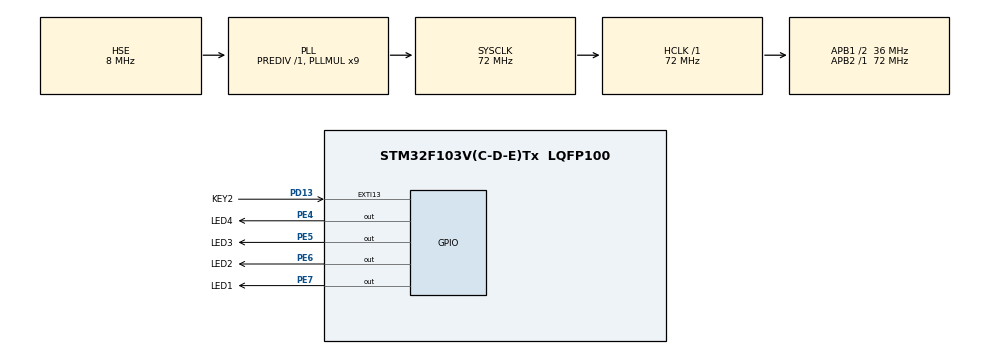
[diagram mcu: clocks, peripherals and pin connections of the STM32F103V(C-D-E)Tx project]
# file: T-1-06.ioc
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Mcu.Family=STM32F1
Mcu.Name=STM32F103V(C-D-E)Tx
Mcu.Package=LQFP100
NVIC.EXTI15_10_IRQn=true\:0\:0\:false\:false\:true\:true\:true
NVIC.PriorityGroup=NVIC_PRIORITYGROUP_4
OSC_IN.Mode=HSE-External-Oscillator
OSC_IN.Signal=RCC_OSC_IN
OSC_OUT.Mode=HSE-External-Oscillator
OSC_OUT.Signal=RCC_OSC_OUT
PA13.Mode=Serial_Wire
PA13.Signal=SYS_JTMS-SWDIO
PA14.Mode=Serial_Wire
PA14.Signal=SYS_JTCK-SWCLK
PC14-OSC32_IN.Mode=LSE-External-Oscillator
PC14-OSC32_IN.Signal=RCC_OSC32_IN
PC15-OSC32_OUT.Mode=LSE-External-Oscillator
PC15-OSC32_OUT.Signal=RCC_OSC32_OUT
PD13.GPIO_Label=KEY2
PD13.GPIO_ModeDefaultEXTI=GPIO_MODE_IT_FALLING
PD13.GPIO_PuPd=GPIO_PULLUP
PD13.Signal=GPXTI13
PE4.GPIO_Label=LED4
PE4.GPIO_ModeDefaultOutputPP=GPIO_MODE_OUTPUT_PP
PE4.GPIO_PuPd=GPIO_NOPULL
PE4.GPIO_Speed=GPIO_SPEED_FREQ_HIGH
PE4.PinState=GPIO_PIN_SET
PE4.Signal=GPIO_Output
PE5.GPIO_Label=LED3
PE5.GPIO_ModeDefaultOutputPP=GPIO_MODE_OUTPUT_PP
PE5.GPIO_PuPd=GPIO_NOPULL
PE5.GPIO_Speed=GPIO_SPEED_FREQ_HIGH
PE5.PinState=GPIO_PIN_SET
PE5.Signal=GPIO_Output
PE6.GPIO_Label=LED2
PE6.GPIO_ModeDefaultOutputPP=GPIO_MODE_OUTPUT_PP
PE6.GPIO_PuPd=GPIO_NOPULL
PE6.GPIO_Speed=GPIO_SPEED_FREQ_HIGH
PE6.PinState=GPIO_PIN_SET
PE6.Signal=GPIO_Output
PE7.GPIO_Label=LED1
PE7.GPIO_ModeDefaultOutputPP=GPIO_MODE_OUTPUT_PP
PE7.GPIO_PuPd=GPIO_NOPULL
PE7.GPIO_Speed=GPIO_SPEED_FREQ_HIGH
PE7.PinState=GPIO_PIN_SET
PE7.Signal=GPIO_Output
ProjectManager.HeapSize=0x200
ProjectManager.StackSize=0x400
ProjectManager.TargetToolchain=MDK-ARM V5
RCC.AHBFreq_Value=72000000
RCC.APB1CLKDivider=RCC_HCLK_DIV2
RCC.APB1Freq_Value=36000000
RCC.APB1TimFreq_Value=72000000
RCC.APB2Freq_Value=72000000
RCC.APB2TimFreq_Value=72000000
RCC.HCLKFreq_Value=72000000
RCC.PLLMUL=RCC_PLL_MUL9
RCC.PLLSourceVirtual=RCC_PLLSOURCE_HSE
RCC.SYSCLKFreq_VALUE=72000000
RCC.SYSCLKSource=RCC_SYSCLKSOURCE_PLLCLK
RCC.USBFreq_Value=72000000
board=custom

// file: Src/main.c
/* USER CODE BEGIN Header */
/**
  ******************************************************************************
  * @file           : main.c
  * @brief          : Main program body
  ******************************************************************************
  * @attention
  *
  * <h2><center>&copy; Copyright (c) 2022 STMicroelectronics.
  * All rights reserved.</center></h2>
  *
  * This software component is licensed by ST under BSD 3-Clause license,
  * the "License"; You may not use this file except in compliance with the
  * License. You may obtain a copy of the License at:
  *                        opensource.org/licenses/BSD-3-Clause
  *
  ******************************************************************************
  */
/* USER CODE END Header */

#include "main.h"
#include "gpio.h"

/* USER CODE BEGIN PV */
	uint8_t Key_Flag=0;
/* USER CODE END PV */

void SystemClock_Config(void);

int main(void)
{

  /* MCU Configuration--------------------------------------------------------*/

  /* Reset of all peripherals, Initializes the Flash interface and the Systick. */
  HAL_Init();

  /* Configure the system clock */
  SystemClock_Config();

  /* Initialize all configured peripherals */
  MX_GPIO_Init();

  /* Infinite loop */
  /* USER CODE BEGIN WHILE */
  while (1)
  {
		if(Key_Flag == 1 )
		{
			/****请在以下指定位置添加功能代码1***/
			//功能：LED1~LED4流水点亮
			/****添加代码1开始***/
			HAL_GPIO_TogglePin (LED1_GPIO_Port ,LED1_Pin );
			HAL_Delay (500);
			HAL_GPIO_TogglePin (LED1_GPIO_Port ,LED1_Pin );
			HAL_GPIO_TogglePin (LED2_GPIO_Port ,LED2_Pin );
			HAL_Delay (500);
			HAL_GPIO_TogglePin (LED2_GPIO_Port ,LED2_Pin );
			HAL_GPIO_TogglePin (LED3_GPIO_Port ,LED3_Pin );
			HAL_Delay (500);
			HAL_GPIO_TogglePin (LED3_GPIO_Port ,LED3_Pin );
			HAL_GPIO_TogglePin (LED4_GPIO_Port ,LED4_Pin );
			HAL_Delay (500);
			HAL_GPIO_TogglePin (LED4_GPIO_Port ,LED4_Pin );

			/****添加代码1结束***/
		}
		else
		{
			/****请在以下指定位置添加功能代码2***/
			//功能：LED1~LED4全灭
			/****添加代码2开始***/
			HAL_GPIO_WritePin  (GPIOE ,0xf0,GPIO_PIN_SET );
			/****添加代码2结束***/
		}
    /* USER CODE END WHILE */

  }
}

void SystemClock_Config(void)
{
  RCC_OscInitTypeDef RCC_OscInitStruct = {0};
  RCC_ClkInitTypeDef RCC_ClkInitStruct = {0};

  /** Initializes the CPU, AHB and APB busses clocks
  */
  RCC_OscInitStruct.OscillatorType = RCC_OSCILLATORTYPE_HSE;
  RCC_OscInitStruct.HSEState = RCC_HSE_ON;
  RCC_OscInitStruct.HSEPredivValue = RCC_HSE_PREDIV_DIV1;
  RCC_OscInitStruct.HSIState = RCC_HSI_ON;
  RCC_OscInitStruct.PLL.PLLState = RCC_PLL_ON;
  RCC_OscInitStruct.PLL.PLLSource = RCC_PLLSOURCE_HSE;
  RCC_OscInitStruct.PLL.PLLMUL = RCC_PLL_MUL9;
  if (HAL_RCC_OscConfig(&RCC_OscInitStruct) != HAL_OK)
  {
    Error_Handler();
  }
  /** Initializes the CPU, AHB and APB busses clocks
  */
  RCC_ClkInitStruct.ClockType = RCC_CLOCKTYPE_HCLK|RCC_CLOCKTYPE_SYSCLK
                              |RCC_CLOCKTYPE_PCLK1|RCC_CLOCKTYPE_PCLK2;
  RCC_ClkInitStruct.SYSCLKSource = RCC_SYSCLKSOURCE_PLLCLK;
  RCC_ClkInitStruct.AHBCLKDivider = RCC_SYSCLK_DIV1;
  RCC_ClkInitStruct.APB1CLKDivider = RCC_HCLK_DIV2;
  RCC_ClkInitStruct.APB2CLKDivider = RCC_HCLK_DIV1;

  if (HAL_RCC_ClockConfig(&RCC_ClkInitStruct, FLASH_LATENCY_2) != HAL_OK)
  {
    Error_Handler();
  }
}

/* USER CODE BEGIN 4 */
			/****请在以下指定位置添加功能代码3***/
			//功能：找到外部中断函数EXTI15_10_IRQHandler()所对应的回调函数，并改写，实现按键标志位Key_Flag取反。
			/****添加代码3开始***/
void HAL_GPIO_EXTI_Callback(uint16_t GPIO_Pin)
{
	Key_Flag =!Key_Flag ;
}
			/****添加代码3结束***/

/* USER CODE END 4 */

void Error_Handler(void)
{
}

/************************ (C) COPYRIGHT STMicroelectronics *****END OF FILE****/
